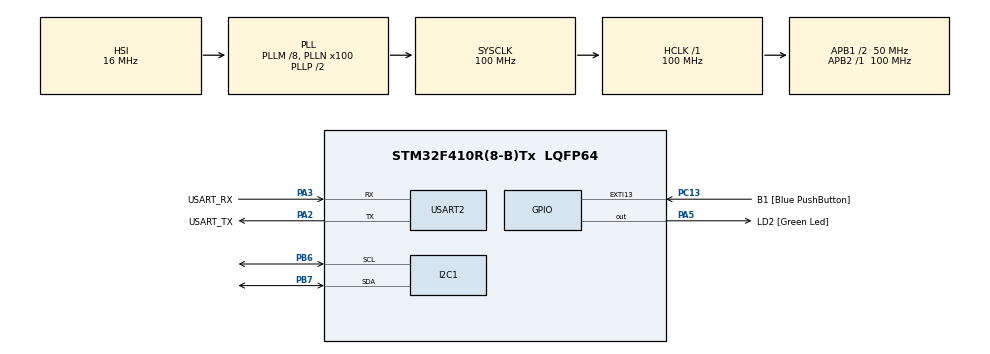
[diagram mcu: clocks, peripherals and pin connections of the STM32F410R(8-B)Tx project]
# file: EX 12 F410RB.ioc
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Mcu.Family=STM32F4
Mcu.Name=STM32F410R(8-B)Tx
Mcu.Package=LQFP64
NVIC.PriorityGroup=NVIC_PRIORITYGROUP_0
PA13.GPIO_Label=TMS
PA13.Mode=Serial_Wire
PA13.Signal=SYS_JTMS-SWDIO
PA14.GPIO_Label=TCK
PA14.Mode=Serial_Wire
PA14.Signal=SYS_JTCK-SWCLK
PA2.GPIO_Label=USART_TX
PA2.Mode=Asynchronous
PA2.Signal=USART2_TX
PA3.GPIO_Label=USART_RX
PA3.Mode=Asynchronous
PA3.Signal=USART2_RX
PA5.GPIO_Label=LD2 [Green Led]
PA5.Signal=GPIO_Output
PB3.GPIO_Label=SWO
PB3.Signal=SYS_JTDO-SWO
PB6.Mode=I2C
PB6.Signal=I2C1_SCL
PB7.Mode=I2C
PB7.Signal=I2C1_SDA
PC13-ANTI_TAMP.GPIO_Label=B1 [Blue PushButton]
PC13-ANTI_TAMP.GPIO_ModeDefaultEXTI=GPIO_MODE_IT_FALLING
PC13-ANTI_TAMP.Signal=GPXTI13
PC14-OSC32_IN.Mode=LSE-External-Oscillator
PC14-OSC32_IN.Signal=RCC_OSC32_IN
PC15-OSC32_OUT.Mode=LSE-External-Oscillator
PC15-OSC32_OUT.Signal=RCC_OSC32_OUT
PH0\ -\ OSC_IN.Mode=HSE-External-Clock-Source
PH0\ -\ OSC_IN.Signal=RCC_OSC_IN
PH1\ -\ OSC_OUT.Mode=HSE-External-Clock-Source
PH1\ -\ OSC_OUT.Signal=RCC_OSC_OUT
ProjectManager.HeapSize=0x200
ProjectManager.StackSize=0x400
ProjectManager.TargetToolchain=MDK-ARM V5.32
RCC.48MHZClocksFreq_Value=50000000
RCC.AHBFreq_Value=100000000
RCC.APB1CLKDivider=RCC_HCLK_DIV2
RCC.APB1Freq_Value=50000000
RCC.APB1TimFreq_Value=100000000
RCC.APB2Freq_Value=100000000
RCC.APB2TimFreq_Value=100000000
RCC.CortexFreq_Value=100000000
RCC.FLatency-AdvancedSettings=FLASH_LATENCY_3
RCC.HCLKFreq_Value=100000000
RCC.HSE_VALUE=8000000
RCC.HSI_VALUE=16000000
RCC.PLLM=8
RCC.PLLN=100
RCC.SYSCLKFreq_VALUE=100000000
RCC.SYSCLKSource=RCC_SYSCLKSOURCE_PLLCLK
RCC.VCOOutputFreq_Value=200000000
USART2.VirtualMode=VM_ASYNC
board=NUCLEO-F410RB

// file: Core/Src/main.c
/* USER CODE BEGIN Header */
/**
  ******************************************************************************
  * @file           : main.c
  * @brief          : Main program body
  ******************************************************************************
  * @attention
  *
  * Copyright (c) 2026 STMicroelectronics.
  * All rights reserved.
  *
  * This software is licensed under terms that can be found in the LICENSE file
  * in the root directory of this software component.
  * If no LICENSE file comes with this software, it is provided AS-IS.
  *
  ******************************************************************************
  */
/* USER CODE END Header */
#include "main.h"

/* USER CODE BEGIN Includes */
#include "bme280.h"
#include <stdio.h>
#include <string.h>
/* USER CODE END Includes */

I2C_HandleTypeDef hi2c1;

UART_HandleTypeDef huart2;

/* USER CODE BEGIN PV */
extern I2C_HandleTypeDef hi2c1; // Assumes I2C1 is configured via CubeMX
struct bme280_dev dev;
struct bme280_data comp_data;
int8_t rslt = BME280_OK;

// Variables to store final calculated values
float temperature, pressure, humidity;
/* USER CODE END PV */

void SystemClock_Config(void);
static void MX_GPIO_Init(void);
static void MX_I2C1_Init(void);
static void MX_USART2_UART_Init(void);
/* USER CODE BEGIN PFP */
int8_t user_i2c_read(
    uint8_t reg_addr,
    uint8_t *reg_data,
    uint32_t len,
    void *intf_ptr
);

int8_t user_i2c_write(
    uint8_t reg_addr,
    const uint8_t *reg_data,
    uint32_t len,
    void *intf_ptr
);

void user_delay_us(uint32_t period, void *intf_ptr);
/* USER CODE END PFP */

int main(void)
{
	char buffer[50];

  HAL_Init();
  SystemClock_Config();
  MX_GPIO_Init();
  MX_I2C1_Init();
  MX_USART2_UART_Init();

	static uint8_t dev_addr = BME280_I2C_ADDR_PRIM; // 0x76 (use BME280_I2C_ADDR_SEC if SDO is high)
	// Set up the API configuration function pointers
	dev.intf_ptr = &dev_addr;
	dev.intf = BME280_I2C_INTF;
	dev.read = user_i2c_read;
	dev.write = user_i2c_write;
	dev.delay_us = user_delay_us;
	// Initialize the BME280 sensor (This automatically extracts the compensation data)
	rslt = bme280_init(&dev);
	// Configure sensor settings
	struct bme280_settings settings;

	settings.osr_h = BME280_OVERSAMPLING_1X;
	settings.osr_p = BME280_OVERSAMPLING_1X;
	settings.osr_t = BME280_OVERSAMPLING_1X;
	settings.filter = BME280_FILTER_COEFF_OFF;

	rslt = bme280_set_sensor_settings(
			BME280_SEL_OSR_PRESS | BME280_SEL_OSR_TEMP |
			BME280_SEL_OSR_HUM | BME280_SEL_FILTER,
			&settings,
			&dev
	);

	rslt = bme280_set_sensor_mode(BME280_POWERMODE_NORMAL, &dev);

  while (1)
  {
		// Read and automatically compensate data
		rslt = bme280_get_sensor_data(BME280_ALL, &comp_data, &dev);
		if (rslt == BME280_OK) {
		// Bosch formulas process outputs as integers or floats depending on compilation configuration
		temperature = comp_data.temperature; // °C
		pressure = comp_data.pressure / 100.0f; // Convert Pa to hPa
		humidity = comp_data.humidity; // % Relative Humidity
		}
		sprintf(buffer, "Temp: %.2f C, Pressure: %.2f hPa, Humidity: %.2f %%\r\n",
        temperature, pressure, humidity);

		HAL_UART_Transmit(&huart2, (uint8_t *)buffer,
                  strlen(buffer), HAL_MAX_DELAY);
		HAL_Delay(1000); // Poll data once per second
	}
}

void SystemClock_Config(void)
{
  RCC_OscInitTypeDef RCC_OscInitStruct = {0};
  RCC_ClkInitTypeDef RCC_ClkInitStruct = {0};

  /** Configure the main internal regulator output voltage
  */
  __HAL_RCC_PWR_CLK_ENABLE();
  __HAL_PWR_VOLTAGESCALING_CONFIG(PWR_REGULATOR_VOLTAGE_SCALE1);

  /** Initializes the RCC Oscillators according to the specified parameters
  * in the RCC_OscInitTypeDef structure.
  */
  RCC_OscInitStruct.OscillatorType = RCC_OSCILLATORTYPE_HSI;
  RCC_OscInitStruct.HSIState = RCC_HSI_ON;
  RCC_OscInitStruct.HSICalibrationValue = RCC_HSICALIBRATION_DEFAULT;
  RCC_OscInitStruct.PLL.PLLState = RCC_PLL_ON;
  RCC_OscInitStruct.PLL.PLLSource = RCC_PLLSOURCE_HSI;
  RCC_OscInitStruct.PLL.PLLM = 8;
  RCC_OscInitStruct.PLL.PLLN = 100;
  RCC_OscInitStruct.PLL.PLLP = RCC_PLLP_DIV2;
  RCC_OscInitStruct.PLL.PLLQ = 4;
  RCC_OscInitStruct.PLL.PLLR = 2;
  if (HAL_RCC_OscConfig(&RCC_OscInitStruct) != HAL_OK)
  {
    Error_Handler();
  }

  /** Initializes the CPU, AHB and APB buses clocks
  */
  RCC_ClkInitStruct.ClockType = RCC_CLOCKTYPE_HCLK|RCC_CLOCKTYPE_SYSCLK
                              |RCC_CLOCKTYPE_PCLK1|RCC_CLOCKTYPE_PCLK2;
  RCC_ClkInitStruct.SYSCLKSource = RCC_SYSCLKSOURCE_PLLCLK;
  RCC_ClkInitStruct.AHBCLKDivider = RCC_SYSCLK_DIV1;
  RCC_ClkInitStruct.APB1CLKDivider = RCC_HCLK_DIV2;
  RCC_ClkInitStruct.APB2CLKDivider = RCC_HCLK_DIV1;

  if (HAL_RCC_ClockConfig(&RCC_ClkInitStruct, FLASH_LATENCY_3) != HAL_OK)
  {
    Error_Handler();
  }
}

static void MX_I2C1_Init(void)
{

  hi2c1.Instance = I2C1;
  hi2c1.Init.ClockSpeed = 100000;
  hi2c1.Init.DutyCycle = I2C_DUTYCYCLE_2;
  hi2c1.Init.OwnAddress1 = 0;
  hi2c1.Init.AddressingMode = I2C_ADDRESSINGMODE_7BIT;
  hi2c1.Init.DualAddressMode = I2C_DUALADDRESS_DISABLE;
  hi2c1.Init.OwnAddress2 = 0;
  hi2c1.Init.GeneralCallMode = I2C_GENERALCALL_DISABLE;
  hi2c1.Init.NoStretchMode = I2C_NOSTRETCH_DISABLE;
  if (HAL_I2C_Init(&hi2c1) != HAL_OK)
  {
    Error_Handler();
  }

}

static void MX_USART2_UART_Init(void)
{

  huart2.Instance = USART2;
  huart2.Init.BaudRate = 115200;
  huart2.Init.WordLength = UART_WORDLENGTH_8B;
  huart2.Init.StopBits = UART_STOPBITS_1;
  huart2.Init.Parity = UART_PARITY_NONE;
  huart2.Init.Mode = UART_MODE_TX_RX;
  huart2.Init.HwFlowCtl = UART_HWCONTROL_NONE;
  huart2.Init.OverSampling = UART_OVERSAMPLING_16;
  if (HAL_UART_Init(&huart2) != HAL_OK)
  {
    Error_Handler();
  }

}

static void MX_GPIO_Init(void)
{
  GPIO_InitTypeDef GPIO_InitStruct = {0};

  /* GPIO Ports Clock Enable */
  __HAL_RCC_GPIOC_CLK_ENABLE();
  __HAL_RCC_GPIOH_CLK_ENABLE();
  __HAL_RCC_GPIOA_CLK_ENABLE();
  __HAL_RCC_GPIOB_CLK_ENABLE();

  /*Configure GPIO pin Output Level */
  HAL_GPIO_WritePin(LD2_GPIO_Port, LD2_Pin, GPIO_PIN_RESET);

  /*Configure GPIO pin : B1_Pin */
  GPIO_InitStruct.Pin = B1_Pin;
  GPIO_InitStruct.Mode = GPIO_MODE_IT_FALLING;
  GPIO_InitStruct.Pull = GPIO_NOPULL;
  HAL_GPIO_Init(B1_GPIO_Port, &GPIO_InitStruct);

  /*Configure GPIO pin : LD2_Pin */
  GPIO_InitStruct.Pin = LD2_Pin;
  GPIO_InitStruct.Mode = GPIO_MODE_OUTPUT_PP;
  GPIO_InitStruct.Pull = GPIO_NOPULL;
  GPIO_InitStruct.Speed = GPIO_SPEED_FREQ_LOW;
  HAL_GPIO_Init(LD2_GPIO_Port, &GPIO_InitStruct);

}

/* USER CODE BEGIN 4 */
int8_t user_i2c_read(uint8_t reg_addr, uint8_t *reg_data, uint32_t len, void *intf_ptr) {
    // Dev address shifted left by 1 is handled by HAL
    uint8_t dev_addr = *(uint8_t*)intf_ptr;
    if (HAL_I2C_Mem_Read(&hi2c1, (dev_addr << 1), reg_addr, I2C_MEMADD_SIZE_8BIT, reg_data, len,
HAL_MAX_DELAY) == HAL_OK) {
        return BME280_OK;
    }
    return BME280_E_COMM_FAIL;
}

int8_t user_i2c_write(uint8_t reg_addr, const uint8_t *reg_data, uint32_t len, void *intf_ptr) {
    uint8_t dev_addr = *(uint8_t*)intf_ptr;
    if (HAL_I2C_Mem_Write(&hi2c1, (dev_addr << 1), reg_addr, I2C_MEMADD_SIZE_8BIT,
(uint8_t*)reg_data, len, HAL_MAX_DELAY) == HAL_OK) {
        return BME280_OK;
    }
    return BME280_E_COMM_FAIL;
}

void user_delay_us(uint32_t period, void *intf_ptr) {
    // HAL provides millisecond delay; convert microseconds upward
    HAL_Delay((period / 1000) + 1);
}
/* USER CODE END 4 */

void Error_Handler(void)
{
  __disable_irq();
  while (1)
  {
  }
}
